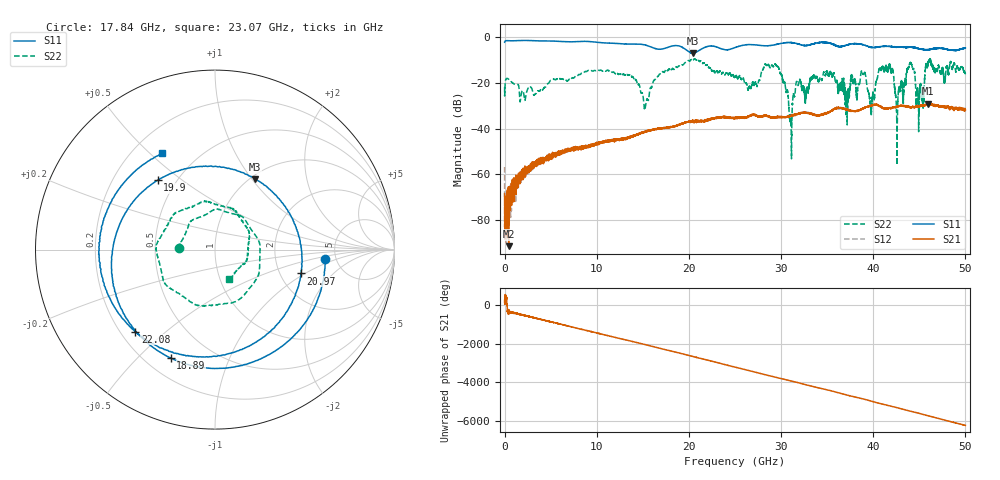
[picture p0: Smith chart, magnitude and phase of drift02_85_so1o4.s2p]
!Created with skrf (http://scikit-rf.org).
# Hz S RI R 50.0
!freq ReS11 ImS11 ReS21 ImS21 ReS12 ImS12 ReS22 ImS22
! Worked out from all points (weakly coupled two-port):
!   10001 points, 300 kHz to 50 GHz, reference 50 ohm
!   highest |S21| = -29.03 dB at 45.95 GHz (marker M1); lowest = -91.6 dB at 440.3 MHz (marker M2)
!   lowest |S11| = -6.9 dB at 20.4 GHz (marker M3), VSWR 2.64, Z = 52.6 + j51.7 ohm
!   |S11| at or under -10 dB: nowhere
!   |S22| runs from -56.0 to -9.3 dB; largest |S21 - S12| = 0.0038
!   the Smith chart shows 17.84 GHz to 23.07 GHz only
!   S11 on the Smith chart (normalised r, x): 17.84 GHz: 4.08, -0.69; 18.89 GHz: 0.30, -0.63; 19.9 GHz: 0.40, +0.41; 20.97 GHz: 2.60, -0.92; 22.08 GHz: 0.26, -0.40; 23.07 GHz: 0.32, +0.55
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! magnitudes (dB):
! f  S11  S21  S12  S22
! 300 kHz  -2.1  -68.6  -56.9  -21.8
! 440.3 MHz  -1.4  -91.6  -71.3  -18.4
! 8.335 GHz  -1.7  -48.8  -48.0  -15.7
! 15.33 GHz  -3.4  -41.2  -41.2  -29.1
! 16.67 GHz  -5.2  -39.8  -40.0  -17.0
! 17.84 GHz  -4.2  -39.4  -39.3  -13.9
! 18.89 GHz  -3.7  -38.4  -38.4  -12.5
! 19.9 GHz  -6.0  -37.1  -37.1  -10.2
! 20.4 GHz  -6.9  -37.0  -36.9  -10.0
! 20.97 GHz  -6.1  -36.6  -36.4  -9.7
! 22.08 GHz  -3.9  -36.4  -36.2  -12.8
! 23.07 GHz  -4.3  -35.2  -35.2  -14.8
! 25 GHz  -4.5  -35.3  -35.4  -17.7
! 29.51 GHz  -3.1  -35.1  -35.1  -12.5
! 31.04 GHz  -2.3  -34.7  -34.6  -34.6
! 33.34 GHz  -3.0  -33.4  -33.5  -17.8
! 38.92 GHz  -3.2  -31.1  -31.1  -16.3
! 39.88 GHz  -4.4  -29.8  -29.8  -28.1
! 41.67 GHz  -3.9  -31.0  -31.0  -13.2
! 42.58 GHz  -4.3  -30.5  -30.3  -45.9
! 45.95 GHz  -5.4  -29.0  -29.2  -11.2
! 50 GHz  -4.7  -31.8  -32.0  -15.8
